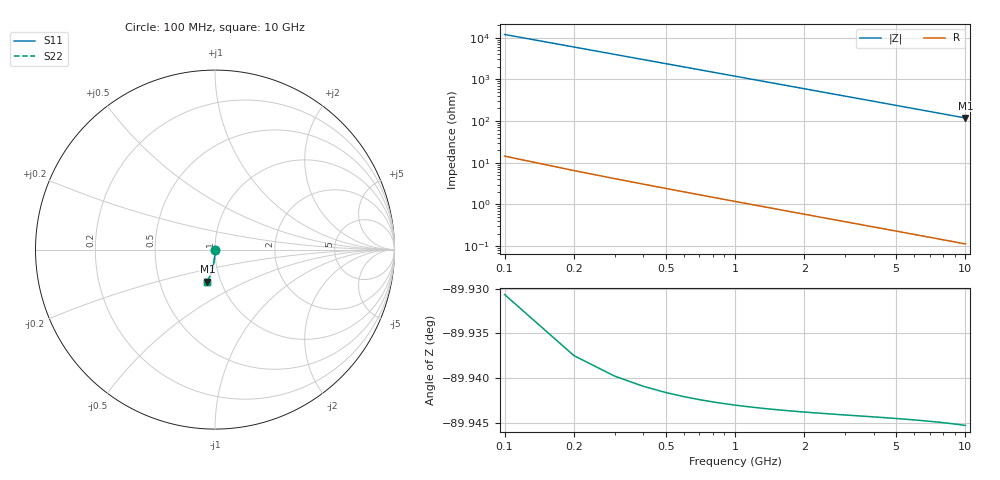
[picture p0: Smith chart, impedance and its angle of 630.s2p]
# Hz S RI R 50.00
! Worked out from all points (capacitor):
!   100 points, 100 MHz to 10 GHz, reference 50 ohm
!   read as one part in shunt: C = 134 fF near 100 MHz
!   lowest |Z| = 118 ohm at 10 GHz (marker M1)
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1e8  0.000104 -0.00186  0.9999 -0.00235  0.9999 -0.00235  0.000104 -0.00186
2e8  8.93e-05 -0.00371  0.9999 -0.00469  0.9999 -0.00469  8.93e-05 -0.00371
3e8  6.61e-05 -0.00557  0.9998 -0.00704  0.9998 -0.00704  6.61e-05 -0.00557
4e8  3.4e-05 -0.00743  0.9998 -0.00938  0.9998 -0.00938  3.4e-05 -0.00743
5e8  -6.85e-06 -0.00928  0.9998 -0.0117  0.9998 -0.0117  -6.85e-06 -0.00928
6e8  -5.65e-05 -0.0111  0.9997 -0.0141  0.9997 -0.0141  -5.65e-05 -0.0111
7e8  -0.000115 -0.013  0.9997 -0.0164  0.9997 -0.0164  -0.000115 -0.013
8e8  -0.000182 -0.0149  0.9996 -0.0188  0.9996 -0.0188  -0.000182 -0.0149
9e8  -0.000258 -0.0167  0.9995 -0.0211  0.9995 -0.0211  -0.000258 -0.0167
1.1e9  -0.000436 -0.0204  0.9993 -0.0258  0.9993 -0.0258  -0.000436 -0.0204
1.4e9  -0.000768 -0.026  0.999 -0.0328  0.999 -0.0328  -0.000768 -0.026
1.8e9  -0.00133 -0.0334  0.9984 -0.0422  0.9984 -0.0422  -0.00133 -0.0334
2.1e9  -0.00185 -0.0389  0.9979 -0.0492  0.9979 -0.0492  -0.00185 -0.0389
2.5e9  -0.00266 -0.0463  0.997 -0.0586  0.997 -0.0586  -0.00266 -0.0463
2.9e9  -0.0036 -0.0537  0.9961 -0.0679  0.9961 -0.0679  -0.0036 -0.0537
3.4e9  -0.00498 -0.0629  0.9946 -0.0795  0.9946 -0.0795  -0.00498 -0.0629
4.2e9  -0.00763 -0.0775  0.9919 -0.0981  0.9919 -0.0981  -0.00763 -0.0775
5.1e9  -0.0113 -0.0938  0.9882 -0.1188  0.9882 -0.1188  -0.0113 -0.0938
5.9e9  -0.0151 -0.1082  0.9843 -0.1371  0.9843 -0.1371  -0.0151 -0.1082
6.7e9  -0.0194 -0.1223  0.9798 -0.1552  0.9798 -0.1552  -0.0194 -0.1223
8.4e9  -0.0303 -0.1517  0.9686 -0.193  0.9686 -0.193  -0.0303 -0.1517
1e10  -0.0425 -0.1783  0.956 -0.2277  0.956 -0.2277  -0.0425 -0.1783
